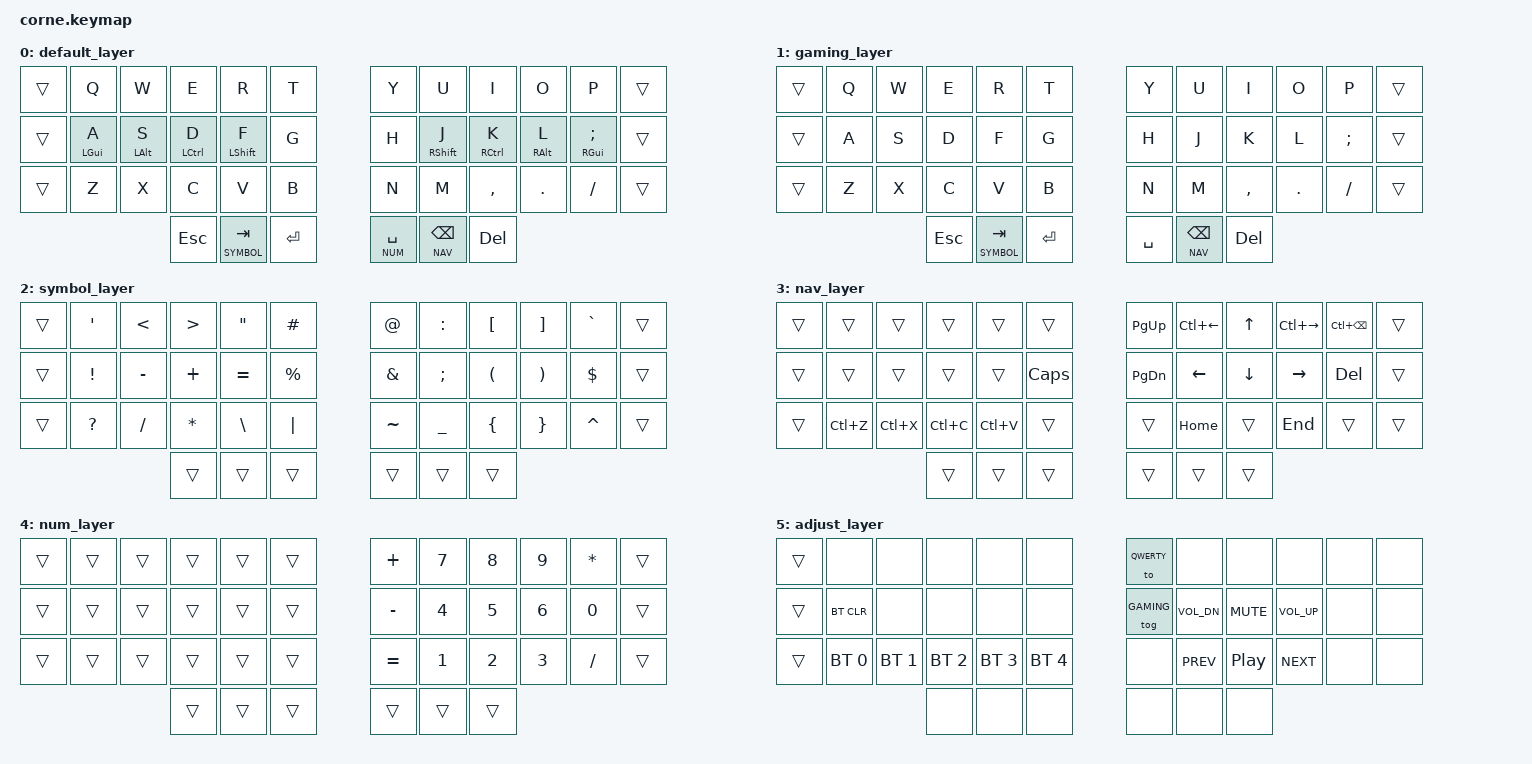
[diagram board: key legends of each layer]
/*
 *  Copyright (c) 2020 The ZMK Contributors
 *
 * SPDX-License-Identifier: MIT
 */

#include <behaviors.dtsi>
#include <dt-bindings/zmk/keys.h>
#include <dt-bindings/zmk/bt.h>
#include <dt-bindings/zmk/rgb.h>
#include <dt-bindings/zmk/ext_power.h>

#define QWERTY 0
#define GAMING 1
#define SYMBOL 2
#define NAV 3
#define NUM 4
#define ADJUST 5

/ {

  
  chosen {
    zmk,matrix-transform = &default_transform;
  };


   conditional_layers {
       compatible = "zmk,conditional-layers";
       adjust_layer {
           if-layers = <SYMBOL NAV>;
           then-layer = <ADJUST>;
       };
   };

behaviors {
       hm: homerow_mods {
            compatible = "zmk,behavior-hold-tap";
            #binding-cells = <2>;
            tapping-term-ms = <200>;
            quick-tap-ms = <125>;
            flavor = "balanced";
            bindings = <&kp>, <&kp>;
        };
    };

    


        keymap {
                compatible = "zmk,keymap";



                default_layer {
                        bindings = <
&trans &kp Q      &kp W &kp E &kp R &kp T   &kp Y &kp U  &kp I     &kp O   &kp P    &trans
&trans &hm LGUI A &hm LALT S &hm LCTRL D &hm LSHFT F &kp G &kp H &hm RSHFT J &hm RCTRL K &hm RALT L &hm RGUI SEMI &trans
&trans &kp Z      &kp X &kp C &kp V &kp B   &kp N &kp M  &kp COMMA &kp DOT &kp FSLH &trans
                               &kp ESC &lt SYMBOL TAB &kp RET   &lt NUM SPACE &lt NAV BSPC &kp DEL
                        >;
                };



                 gaming_layer {
                        bindings = <
&trans &kp Q &kp W &kp E &kp R &kp T   &kp Y &kp U  &kp I     &kp O   &kp P    &trans
&trans &kp A &kp S &kp D &kp F &kp G   &kp H &kp J  &kp K     &kp L   &kp SEMI &trans
&trans &kp Z &kp X &kp C &kp V &kp B   &kp N &kp M  &kp COMMA &kp DOT &kp FSLH &trans
      &kp ESC &lt SYMBOL TAB &kp RET   &kp SPACE &lt NAV BSPC &kp DEL
                        >;
                };



                symbol_layer {
                        bindings = <
&trans &kp SQT    &kp LT    &kp GT    &kp DQT   &kp HASH      &kp AT    &kp COLON &kp LBKT  &kp RBKT  &kp GRAVE &trans
&trans &kp EXCL   &kp MINUS &kp PLUS  &kp EQUAL &kp PRCNT     &kp AMPS  &kp SEMI  &kp LPAR  &kp RPAR  &kp DLLR  &trans
&trans &kp QMARK  &kp FSLH  &kp ASTRK &kp BSLH  &kp PIPE      &kp TILDE &kp UNDER &kp LBRC  &kp RBRC  &kp CARET &trans
                            &trans    &trans    &trans        &trans    &trans    &trans
                        >;
                };



                nav_layer {
                        bindings = <
&trans  &trans    &trans    &trans    &trans    &trans        &kp PG_UP  &kp LC(LEFT) &kp UP   &kp LC(RIGHT) &kp LC(BSPC) &trans
&trans  &trans    &trans    &trans    &trans    &kp CLCK      &kp PG_DN  &kp LEFT     &kp DOWN &kp RIGHT     &kp DEL      &trans
&trans  &kp LC(Z) &kp LC(X) &kp LC(C) &kp LC(V) &trans        &trans     &kp HOME     &trans   &kp END       &trans       &trans
                            &trans    &trans    &trans        &trans     &trans       &trans
                        >;
                };

                num_layer {
                        bindings = <
&trans  &trans &trans &trans &trans &trans      &kp PLUS  &kp N7 &kp N8 &kp N9 &kp ASTRK &trans
&trans  &trans &trans &trans &trans &trans      &kp MINUS &kp N4 &kp N5 &kp N6 &kp N0    &trans
&trans  &trans &trans &trans &trans &trans      &kp EQUAL &kp N1 &kp N2 &kp N3 &kp FSLH  &trans
                      &trans &trans &trans      &trans &trans &trans
                        >;
                };



                 adjust_layer {
                        bindings = <
&trans &none        &none        &none        &none        &none           &to QWERTY  &none        &none      &none        &none &none
&trans &bt BT_CLR   &none        &none        &none        &none           &tog GAMING &kp C_VOL_DN &kp C_MUTE &kp C_VOL_UP &none &none
&trans &bt BT_SEL 0 &bt BT_SEL 1 &bt BT_SEL 2 &bt BT_SEL 3 &bt BT_SEL 4    &none       &kp C_PREV   &kp C_PP   &kp C_NEXT   &none &none
                                 &none        &none        &none           &none       &none        &none
                        >;
                };



    };
};
